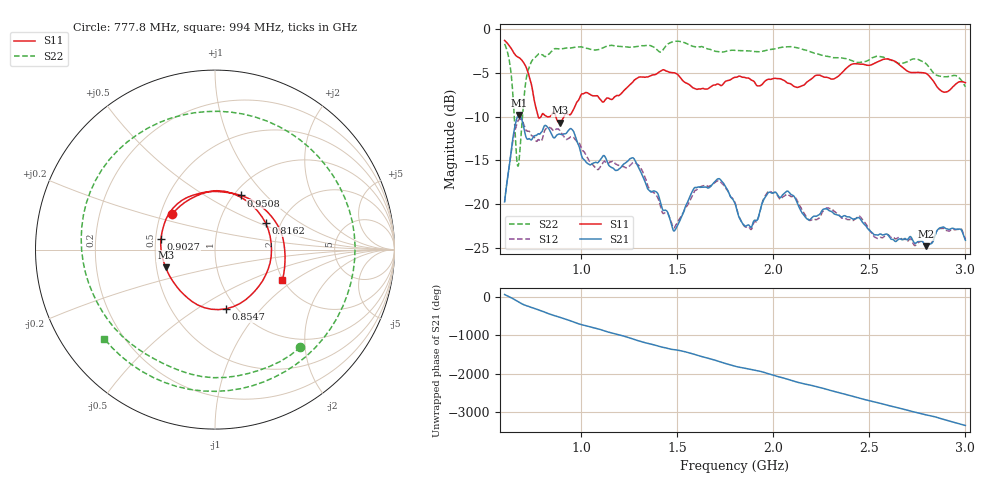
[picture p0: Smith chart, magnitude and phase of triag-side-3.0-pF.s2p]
#  HZ  S  RI  R  50.00
! Rohde & Schwarz ZVB8 2Ports - Version 2.81 - 1145.1010k08 SN: 100113
! Date: 2016-03-12 03:31:20
! Measurements: S11 S21 S12 S22
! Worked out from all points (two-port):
!   1000 points, 600 MHz to 3 GHz, reference 50 ohm
!   highest |S21| = -9.81 dB at 674.5 MHz (marker M1); lowest = -24.8 dB at 2.796 GHz (marker M2)
!   |S21| within 3 dB of the highest: 641 MHz to 976.4 MHz (335.4 MHz wide, 41.5 % of centre)
!   lowest |S11| = -10.7 dB at 888.3 MHz (marker M3), VSWR 1.82, Z = 28 - j6.1 ohm
!   |S11| at or under -10 dB: 775 MHz to 789.9 MHz (14.87 MHz wide, 1.9 % of centre); 820.6 MHz to 835.9 MHz (15.29 MHz wide, 1.85 % of centre); 866.7 MHz to 909.4 MHz (42.67 MHz wide, 4.81 % of centre)
!   |S22| runs from -15.7 to -1.4 dB; largest |S21 - S12| = 0.03
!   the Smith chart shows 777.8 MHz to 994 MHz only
!   S11 on the Smith chart (normalised r, x): 777.8 MHz: 0.57, +0.25; 816.2 MHz: 1.67, +0.55; 854.7 MHz: 0.90, -0.67; 902.7 MHz: 0.53, +0.07; 950.8 MHz: 1.08, +0.73; 994 MHz: 1.98, -0.81
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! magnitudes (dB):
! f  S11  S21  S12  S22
! 600 MHz  -1.3  -19.8  -19.7  -1.7
! 674.5 MHz  -3.3  -9.8  -10.4  -15.2
! 717.7 MHz  -4.7  -12.6  -11.7  -5.1
! 777.8 MHz  -10.1  -12.0  -12.6  -2.8
! 816.2 MHz  -9.9  -11.0  -11.4  -3.1
! 854.7 MHz  -9.5  -12.4  -11.6  -2.3
! 888.3 MHz  -10.7  -12.0  -11.6  -2.3
! 902.7 MHz  -10.3  -12.0  -12.1  -2.2
! 950.8 MHz  -9.5  -11.5  -12.4  -2.1
! 994 MHz  -7.7  -13.9  -13.3  -2.0
! 1.001 GHz  -7.4  -14.5  -13.7  -2.0
! 1.268 GHz  -6.0  -14.7  -15.3  -2.0
! 1.4 GHz  -5.0  -18.9  -19.4  -2.5
! 1.484 GHz  -5.0  -23.1  -22.7  -1.4
! 1.597 GHz  -6.8  -18.1  -18.4  -2.0
! 1.801 GHz  -5.5  -20.0  -19.9  -2.4
! 1.878 GHz  -5.7  -22.6  -22.8  -2.5
! 2.073 GHz  -6.2  -18.5  -18.9  -2.0
! 2.2 GHz  -5.7  -21.6  -21.8  -2.7
! 2.601 GHz  -3.4  -23.7  -23.6  -3.5
! 2.796 GHz  -5.1  -24.8  -24.7  -4.0
! 3 GHz  -6.1  -24.2  -24.1  -6.6
